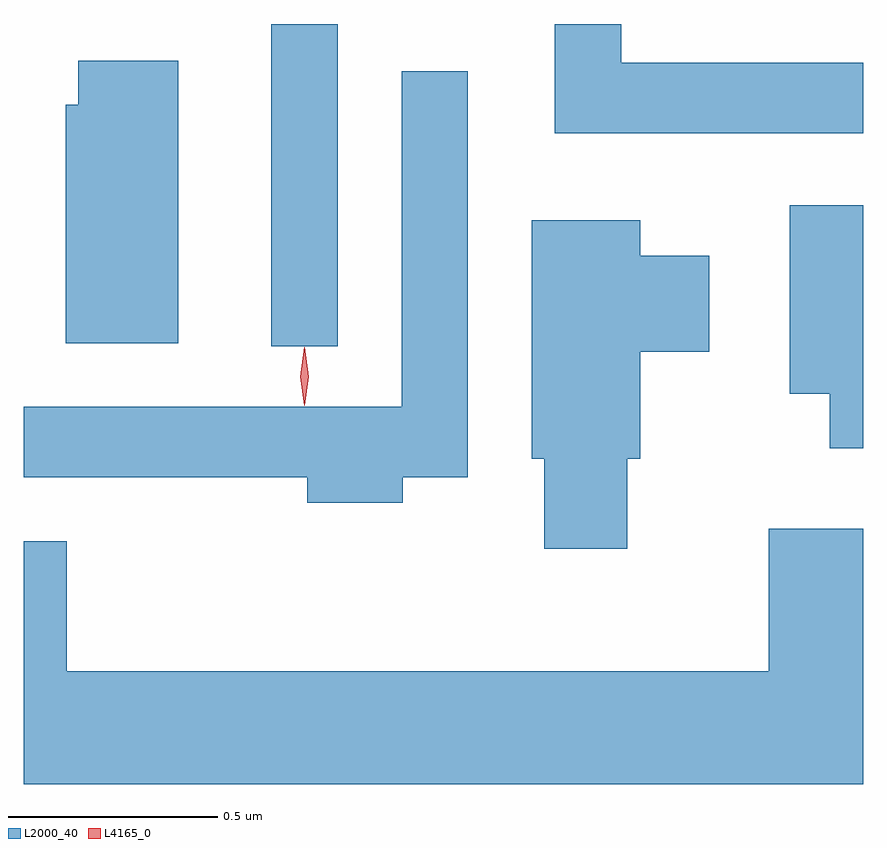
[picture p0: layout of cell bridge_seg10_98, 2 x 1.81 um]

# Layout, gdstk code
import gdstk
lib = gdstk.Library(unit=1e-6, precision=1e-09)
def R(c, l, rs):  # rectangles x0, y0, x1, y1
    for r in rs: c.add(gdstk.rectangle(r[:2], r[2:], *l))
def P(c, l, *ps):  # polygons
    for p in ps: c.add(gdstk.Polygon(p, *l))
L2000_40 = (2000, 40)
L4165_0 = (4165, 0)

bridge_seg10_98 = lib.new_cell('bridge_seg10_98')
R(bridge_seg10_98, L2000_40, [(1584.016,2201.538,1584.174,2202.306)])
P(bridge_seg10_98, L2000_40, [(1585.426,2202.214),(1584.849,2202.214),(1584.849,2202.306),(1584.691,2202.306),(1584.691,2202.046),(1585.426,2202.046)],
  [(1583.794,2202.219),(1583.556,2202.219),(1583.556,2202.114),(1583.526,2202.114),(1583.526,2201.546),(1583.794,2201.546)],
  [(1584.329,2201.226),(1584.484,2201.226),(1584.484,2202.193),(1584.326,2202.193),(1584.326,2201.394),(1583.426,2201.394),(1583.426,2201.226),(1584.101,2201.226),(1584.101,2201.166),(1584.329,2201.166)],
  [(1585.426,2201.874),(1585.251,2201.874),(1585.251,2201.426),(1585.346,2201.426),(1585.346,2201.296),(1585.426,2201.296)],
  [(1584.864,2201.271),(1584.894,2201.271),(1584.894,2201.526),(1585.059,2201.526),(1585.059,2201.754),(1584.894,2201.754),(1584.894,2201.839),(1584.636,2201.839),(1584.636,2201.271),(1584.666,2201.271),(1584.666,2201.056),(1584.864,2201.056)],
  [(1585.426,2201.104),(1585.201,2201.104),(1585.201,2200.764),(1583.529,2200.764),(1583.529,2201.074),(1583.426,2201.074),(1583.426,2200.496),(1585.426,2200.496)])
P(bridge_seg10_98, L4165_0, [(1584.095,2201.397),(1584.094,2201.398),(1584.085,2201.466),(1584.094,2201.536),(1584.095,2201.536),(1584.095,2201.536),(1584.105,2201.466),(1584.095,2201.398)])

lib.write_gds('bridge_seg10_98.gds')
